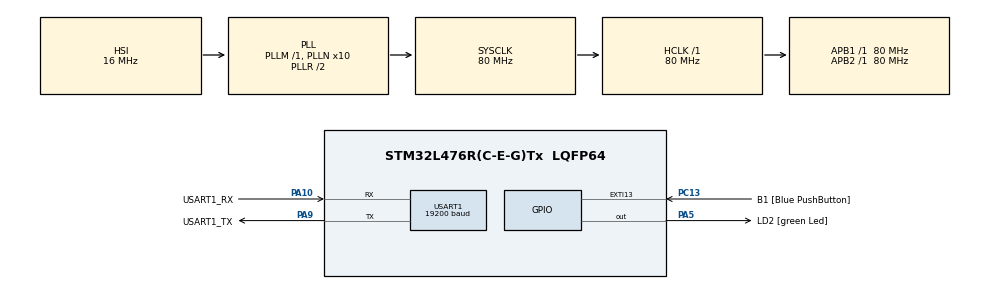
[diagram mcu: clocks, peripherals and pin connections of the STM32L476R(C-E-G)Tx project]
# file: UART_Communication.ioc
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Dma.Request0=USART1_TX
Dma.USART1_TX.0.Direction=DMA_MEMORY_TO_PERIPH
Dma.USART1_TX.0.Instance=DMA1_Channel4
Dma.USART1_TX.0.MemDataAlignment=DMA_MDATAALIGN_BYTE
Dma.USART1_TX.0.MemInc=DMA_MINC_ENABLE
Dma.USART1_TX.0.Mode=DMA_NORMAL
Dma.USART1_TX.0.PeriphDataAlignment=DMA_PDATAALIGN_BYTE
Dma.USART1_TX.0.PeriphInc=DMA_PINC_DISABLE
Dma.USART1_TX.0.Priority=DMA_PRIORITY_LOW
Mcu.Family=STM32L4
Mcu.Name=STM32L476R(C-E-G)Tx
Mcu.Package=LQFP64
NVIC.DMA1_Channel4_IRQn=true\:0\:0\:false\:false\:true\:false\:true\:true
NVIC.PriorityGroup=NVIC_PRIORITYGROUP_4
NVIC.USART1_IRQn=true\:0\:0\:false\:false\:true\:true\:true\:true
PA10.GPIO_Label=USART1_RX
PA10.Mode=Asynchronous
PA10.Signal=USART1_RX
PA13\ (JTMS-SWDIO).GPIO_Label=TMS
PA13\ (JTMS-SWDIO).Mode=Serial_Wire
PA13\ (JTMS-SWDIO).Signal=SYS_JTMS-SWDIO
PA14\ (JTCK-SWCLK).GPIO_Label=TCK
PA14\ (JTCK-SWCLK).Mode=Serial_Wire
PA14\ (JTCK-SWCLK).Signal=SYS_JTCK-SWCLK
PA5.GPIO_Label=LD2 [green Led]
PA5.GPIO_ModeDefaultOutputPP=GPIO_MODE_OUTPUT_PP
PA5.GPIO_PuPd=GPIO_NOPULL
PA5.GPIO_Speed=GPIO_SPEED_FREQ_LOW
PA5.Signal=GPIO_Output
PA9.GPIO_Label=USART1_TX
PA9.Mode=Asynchronous
PA9.Signal=USART1_TX
PB3\ (JTDO-TRACESWO).GPIO_Label=SWO
PB3\ (JTDO-TRACESWO).Signal=SYS_JTDO-SWO
PC13.GPIO_Label=B1 [Blue PushButton]
PC13.GPIO_ModeDefaultEXTI=GPIO_MODE_IT_FALLING
PC13.GPIO_PuPd=GPIO_NOPULL
PC13.Signal=GPXTI13
PC14-OSC32_IN\ (PC14).Mode=LSE-External-Oscillator
PC14-OSC32_IN\ (PC14).Signal=RCC_OSC32_IN
PC15-OSC32_OUT\ (PC15).Mode=LSE-External-Oscillator
PC15-OSC32_OUT\ (PC15).Signal=RCC_OSC32_OUT
PH0-OSC_IN\ (PH0).Signal=RCC_OSC_IN
PH1-OSC_OUT\ (PH1).Signal=RCC_OSC_OUT
ProjectManager.HeapSize=0x200
ProjectManager.StackSize=0x400
ProjectManager.TargetToolchain=STM32CubeIDE
RCC.ADCFreq_Value=64000000
RCC.AHBFreq_Value=80000000
RCC.APB1Freq_Value=80000000
RCC.APB1TimFreq_Value=80000000
RCC.APB2Freq_Value=80000000
RCC.APB2TimFreq_Value=80000000
RCC.CortexFreq_Value=80000000
RCC.HCLKFreq_Value=80000000
RCC.HSE_VALUE=8000000
RCC.HSI_VALUE=16000000
RCC.MSI_VALUE=4000000
RCC.PLLN=10
RCC.PLLSourceVirtual=RCC_PLLSOURCE_HSI
RCC.PREFETCH_ENABLE=1
RCC.SYSCLKFreq_VALUE=80000000
RCC.SYSCLKSource=RCC_SYSCLKSOURCE_PLLCLK
RCC.USBFreq_Value=64000000
RCC.VCOOutputFreq_Value=160000000
USART1.BaudRate=19200
USART1.Parity=PARITY_ODD
USART1.VirtualMode-Asynchronous=VM_ASYNC
USART1.WordLength=WORDLENGTH_9B
board=NUCLEO-L476RG

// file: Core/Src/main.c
/* USER CODE BEGIN Header */
/**
  ******************************************************************************
  * @file           : main.c
  * @brief          : Main program body
  ******************************************************************************
  * @attention
  *
  * Copyright (c) 2024 STMicroelectronics.
  * All rights reserved.
  *
  * This software is licensed under terms that can be found in the LICENSE file
  * in the root directory of this software component.
  * If no LICENSE file comes with this software, it is provided AS-IS.
  *
  ******************************************************************************
  */
/* USER CODE END Header */
#include "main.h"

/* USER CODE BEGIN Includes */
#include "stdio.h"
#include "string.h"
#include "stdbool.h"

//#include <stdlib.h>  //for atoi
/* USER CODE END Includes */

/* USER CODE BEGIN PD */
#define MAGIC_NUM_1 0xA5
#define MAGIC_NUM_2 0xA5
#define MAGIC_NUM_3 0xA5
#define MAGIC_NUM_4 0xA5
#define PAYLOAD_ID  0xFF

#define PACKET_TYPE_TC_GENERIC  0x00
#define PACKET_TYPE_TC_TIME     0x0E
#define PACKET_TYPE_TC_SYN      0x0F

#define PACKET_TYPE_TM_HK   0x01  // Housekeeping
#define PACKET_TYPE_TM_SC   0x02  // Science
#define PACKET_TYPE_TM_AN   0x08  // Ancillary
#define PACKET_TYPE_TM_ACK  0x03  // Acknowledge
#define PACKET_TYPE_TM_NAK  0x04  // Not Acknowledge

#define CRC_POLY 0x1021        // Polynomial CRC: X^16 + X^12 + X^5 + 1
#define CRC_INIT 0xFFFF
#define TC_HEADER_SIZE 10
#define TM_HEADER_SIZE 17
#define MAX_TC_CARGO_SIZE 256	//arbitrary set
#define MAX_TM_CARGO_SIZE 256   //1103

#define EPOCH_OFFSET 1630454400  // 1 January 2022 in UNIX seconds
#define SYNC_TIMEOUT_MS 6000
/* USER CODE END PD */

UART_HandleTypeDef huart1;
DMA_HandleTypeDef hdma_usart1_tx;

/* USER CODE BEGIN PV */
uint32_t received_MET;
uint32_t sync_tick = 0;

typedef struct {
    uint8_t magic[4];      	// Magic number 0xA5A5A5A5
    uint8_t payload_id;    	// Payload ID
    uint8_t packet_type;   	// Package type
    uint16_t cargo_length; // Package length
    uint16_t packet_counter;// Package counter
    uint32_t coarse_time;  	// Time (seconds)
    uint8_t fine_time[3];  	// Time (fraction of second)
} TM_Header;

// Structure Header
typedef struct{
    uint8_t magic[4];         // Magic number
    uint8_t payload_id;       // Payload ID
    uint8_t packet_type;      // Package type
    uint16_t cargo_length;    // Package length
    uint16_t packet_counter;  // Package counter
} TC_Header;

// Structure package
typedef struct {
    TC_Header header;
    uint8_t cargo[MAX_TC_CARGO_SIZE];
    uint16_t crc;
} TC_Packet;

/* USER CODE END PV */

void SystemClock_Config(void);
static void MX_GPIO_Init(void);
static void MX_DMA_Init(void);
static void MX_USART1_UART_Init(void);

/* USER CODE BEGIN PFP */

//function to compute CRC
uint16_t calculate_crc(uint8_t *data, size_t length){
    uint16_t crc = CRC_INIT;
    for (size_t i = 0; i < length; i++) {
        crc ^= (data[i] << 8);
        for (int bit = 0; bit < 8; bit++) {
            if (crc & 0x8000) {
                crc = (crc << 1) ^ CRC_POLY;
            }else{
                crc <<= 1;
            }
        }
    }
    return crc & 0xFFFF; // Ritorna un valore a 16 bit
}
//function to get time

void get_cuc_time(uint32_t *coarse, uint8_t *fine) {
    if (sync_tick == 0) {											// Se non è ancora sincronizzato, usa il tick corrente
        *coarse = (HAL_GetTick() / 1000) + EPOCH_OFFSET;
    } else {														// Calcola il tempo corretto
        uint32_t elapsed_time = (HAL_GetTick() - sync_tick) / 1000;
        *coarse = received_MET + elapsed_time;
        *coarse += 3600;     //Italy time
    }

    uint32_t millis = (HAL_GetTick() - sync_tick) % 1000;  			// Millisecondi rimanenti
    uint32_t fine_time = millis * 16777;  							// Normalizzazione su 24 bit

    fine[0] = (fine_time >> 16) & 0xFF;  							// Byte più significativo
    fine[1] = (fine_time >> 8) & 0xFF;   							// Byte centrale
    fine[2] = fine_time & 0xFF;          							// Byte meno significativo
}

void send_packet(UART_HandleTypeDef* huart) {
    static uint16_t packet_counter = 0;
    const char cargo[] = "Hello from STM32";
    uint16_t cargo_length = strlen(cargo) /*+ 20*/;
    if(cargo_length>MAX_TM_CARGO_SIZE){
    	return;
    }

    static uint8_t buffer[TM_HEADER_SIZE + MAX_TM_CARGO_SIZE + 2];

    TM_Header header;
    header.magic[0] = MAGIC_NUM_1;
	header.magic[1] = MAGIC_NUM_2;
	header.magic[2] = MAGIC_NUM_3;
	header.magic[3] = MAGIC_NUM_4;

	header.payload_id = PAYLOAD_ID;
	header.packet_type = PACKET_TYPE_TM_SC;
	header.cargo_length = cargo_length;
	header.packet_counter = packet_counter++;

    get_cuc_time(&header.coarse_time, header.fine_time);

    memcpy(buffer, &header, TM_HEADER_SIZE);

    memcpy(buffer + TM_HEADER_SIZE, &cargo, cargo_length);

    //uint32_t timestamp = HAL_GetTick() / 1000;
    //snprintf((char*)&buffer[17 + strlen(cargo)], sizeof(buffer) - (17 + strlen(cargo)), " %u", (unsigned int)timestamp);

    uint16_t crc = calculate_crc(buffer, TM_HEADER_SIZE + cargo_length);
    memcpy(buffer + TM_HEADER_SIZE + cargo_length, &crc, sizeof(uint16_t));

    HAL_UART_Transmit_DMA(huart, buffer, TM_HEADER_SIZE+cargo_length+2);
}

void send_response(UART_HandleTypeDef* huart, bool acknowledge, uint16_t counter){
    static uint8_t response_buffer[TM_HEADER_SIZE + 2];

    TM_Header header;
    header.magic[0] = MAGIC_NUM_1;
	header.magic[1] = MAGIC_NUM_2;
	header.magic[2] = MAGIC_NUM_3;
	header.magic[3] = MAGIC_NUM_4;

	header.payload_id = PAYLOAD_ID;
	if(acknowledge){
		header.packet_type = PACKET_TYPE_TM_ACK;
	}
	else{
		header.packet_type = PACKET_TYPE_TM_NAK;
	}
	header.cargo_length = 0;
	header.packet_counter = counter;

    get_cuc_time(&header.coarse_time, header.fine_time);

    memcpy(response_buffer, &header, TM_HEADER_SIZE);

    uint16_t crc = calculate_crc(response_buffer, TM_HEADER_SIZE);
    memcpy(response_buffer + TM_HEADER_SIZE, &crc, sizeof(uint16_t));

    HAL_UART_Transmit_DMA(huart, response_buffer, TM_HEADER_SIZE+2);
}

/* USER CODE END PFP */

/* USER CODE BEGIN 0 */
TC_Packet received_packet;
uint8_t rx_buffer[TC_HEADER_SIZE];  				// Buffer to receive TC header
uint8_t rx_payload_buffer[MAX_TC_CARGO_SIZE + 2];  	// TC Payload + CRC
uint8_t receiving_stage = 0;  						// 0: header, 1: payload+CRC
uint16_t expected_cargo_length = 0;					// cargo leangth

//uint8_t tx_buffer[50];     			// Buffer to send data (50 byte) //old
volatile bool send_tm = false;  					// Flag to send data
volatile bool tx_complete = true;  	// Flag per monitorare lo stato della trasmissione //volatile: slower execution
volatile bool sending_response = false;
volatile bool sync = false;
bool positive_response = true;
uint16_t pkg_counter_response=0;
int delay = 1000;

//uint8_t rx_dma_buffer[64]; // Buffer per ricezione tramite DMA
/* USER CODE END 0 */

int main(void)
{

  /* MCU Configuration--------------------------------------------------------*/

  /* Reset of all peripherals, Initializes the Flash interface and the Systick. */
  HAL_Init();

  /* Configure the system clock */
  SystemClock_Config();

  /* Initialize all configured peripherals */
  MX_GPIO_Init();
  MX_DMA_Init();
  MX_USART1_UART_Init();
  /* USER CODE BEGIN 2 */

  // start the receive of interrupt
  HAL_UART_Receive_IT(&huart1, rx_buffer, sizeof(rx_buffer));
  //snprintf((char *)tx_buffer, sizeof(tx_buffer), "Hello from STM32");

  /* USER CODE END 2 */

  /* Infinite loop */
  /* USER CODE BEGIN WHILE */
  while (1){
	  // Wait until the DMA has completed the previous transmission
	  if (tx_complete)
	  {
		  if(sending_response){
			  tx_complete = false;
			  sending_response = false;
			  send_response(&huart1, positive_response, pkg_counter_response);
			  if(sync) {
				  uint32_t start_time = HAL_GetTick();
				  while(sync){
					  __WFI();  // Wait in low-power mode
					  if((HAL_GetTick() - start_time) > SYNC_TIMEOUT_MS){
						  sync = false;
					  }
				  }
			  }
		  }
		  else if(send_tm){
			  tx_complete = false;  // Reset flag
			  //HAL_UART_Transmit_DMA(&huart1, tx_buffer, strlen((char *)tx_buffer)); //old
			  send_packet(&huart1);
			  HAL_GPIO_TogglePin(GPIOA, GPIO_PIN_5);
		  }
	  }
	  HAL_Delay(delay);  // Delay for periodic data sending
    /* USER CODE END WHILE */

  }
}

void SystemClock_Config(void)
{
  RCC_OscInitTypeDef RCC_OscInitStruct = {0};
  RCC_ClkInitTypeDef RCC_ClkInitStruct = {0};

  /** Configure the main internal regulator output voltage
  */
  if (HAL_PWREx_ControlVoltageScaling(PWR_REGULATOR_VOLTAGE_SCALE1) != HAL_OK)
  {
    Error_Handler();
  }

  /** Initializes the RCC Oscillators according to the specified parameters
  * in the RCC_OscInitTypeDef structure.
  */
  RCC_OscInitStruct.OscillatorType = RCC_OSCILLATORTYPE_HSI;
  RCC_OscInitStruct.HSIState = RCC_HSI_ON;
  RCC_OscInitStruct.HSICalibrationValue = RCC_HSICALIBRATION_DEFAULT;
  RCC_OscInitStruct.PLL.PLLState = RCC_PLL_ON;
  RCC_OscInitStruct.PLL.PLLSource = RCC_PLLSOURCE_HSI;
  RCC_OscInitStruct.PLL.PLLM = 1;
  RCC_OscInitStruct.PLL.PLLN = 10;
  RCC_OscInitStruct.PLL.PLLP = RCC_PLLP_DIV7;
  RCC_OscInitStruct.PLL.PLLQ = RCC_PLLQ_DIV2;
  RCC_OscInitStruct.PLL.PLLR = RCC_PLLR_DIV2;
  if (HAL_RCC_OscConfig(&RCC_OscInitStruct) != HAL_OK)
  {
    Error_Handler();
  }

  /** Initializes the CPU, AHB and APB buses clocks
  */
  RCC_ClkInitStruct.ClockType = RCC_CLOCKTYPE_HCLK|RCC_CLOCKTYPE_SYSCLK
                              |RCC_CLOCKTYPE_PCLK1|RCC_CLOCKTYPE_PCLK2;
  RCC_ClkInitStruct.SYSCLKSource = RCC_SYSCLKSOURCE_PLLCLK;
  RCC_ClkInitStruct.AHBCLKDivider = RCC_SYSCLK_DIV1;
  RCC_ClkInitStruct.APB1CLKDivider = RCC_HCLK_DIV1;
  RCC_ClkInitStruct.APB2CLKDivider = RCC_HCLK_DIV1;

  if (HAL_RCC_ClockConfig(&RCC_ClkInitStruct, FLASH_LATENCY_4) != HAL_OK)
  {
    Error_Handler();
  }
}

static void MX_USART1_UART_Init(void)
{

  huart1.Instance = USART1;
  huart1.Init.BaudRate = 19200;
  huart1.Init.WordLength = UART_WORDLENGTH_9B;
  huart1.Init.StopBits = UART_STOPBITS_1;
  huart1.Init.Parity = UART_PARITY_ODD;
  huart1.Init.Mode = UART_MODE_TX_RX;
  huart1.Init.HwFlowCtl = UART_HWCONTROL_NONE;
  huart1.Init.OverSampling = UART_OVERSAMPLING_16;
  huart1.Init.OneBitSampling = UART_ONE_BIT_SAMPLE_DISABLE;
  huart1.AdvancedInit.AdvFeatureInit = UART_ADVFEATURE_NO_INIT;
  if (HAL_UART_Init(&huart1) != HAL_OK)
  {
    Error_Handler();
  }

}

static void MX_DMA_Init(void)
{

  /* DMA controller clock enable */
  __HAL_RCC_DMA1_CLK_ENABLE();

  /* DMA interrupt init */
  /* DMA1_Channel4_IRQn interrupt configuration */
  HAL_NVIC_SetPriority(DMA1_Channel4_IRQn, 0, 0);
  HAL_NVIC_EnableIRQ(DMA1_Channel4_IRQn);

}

static void MX_GPIO_Init(void)
{
  GPIO_InitTypeDef GPIO_InitStruct = {0};

  /* GPIO Ports Clock Enable */
  __HAL_RCC_GPIOC_CLK_ENABLE();
  __HAL_RCC_GPIOH_CLK_ENABLE();
  __HAL_RCC_GPIOA_CLK_ENABLE();
  __HAL_RCC_GPIOB_CLK_ENABLE();

  /*Configure GPIO pin Output Level */
  HAL_GPIO_WritePin(LD2_GPIO_Port, LD2_Pin, GPIO_PIN_RESET);

  /*Configure GPIO pin : B1_Pin */
  GPIO_InitStruct.Pin = B1_Pin;
  GPIO_InitStruct.Mode = GPIO_MODE_IT_FALLING;
  GPIO_InitStruct.Pull = GPIO_NOPULL;
  HAL_GPIO_Init(B1_GPIO_Port, &GPIO_InitStruct);

  /*Configure GPIO pin : LD2_Pin */
  GPIO_InitStruct.Pin = LD2_Pin;
  GPIO_InitStruct.Mode = GPIO_MODE_OUTPUT_PP;
  GPIO_InitStruct.Pull = GPIO_NOPULL;
  GPIO_InitStruct.Speed = GPIO_SPEED_FREQ_LOW;
  HAL_GPIO_Init(LD2_GPIO_Port, &GPIO_InitStruct);

}

/* USER CODE BEGIN 4 */
void HAL_UART_TxCpltCallback(UART_HandleTypeDef *huart)
{
    if (huart->Instance == USART1)  // Check if it's the channel USART1
    {
        tx_complete = true;  // Set the transmission as complete
    }
}

void HAL_UART_RxCpltCallback(UART_HandleTypeDef *huart)
{
    if (huart->Instance == USART1)
    {
        if (receiving_stage == 0)  // Receiving header
        {
            memcpy(&received_packet.header, rx_buffer, TC_HEADER_SIZE);
            expected_cargo_length = received_packet.header.cargo_length;
            if(received_packet.header.magic[0]!=MAGIC_NUM_1 || received_packet.header.magic[1]!=MAGIC_NUM_2 ||
               received_packet.header.magic[2]!=MAGIC_NUM_3 || received_packet.header.magic[3]!=MAGIC_NUM_4)
            {
            	receiving_stage = 0;  // Reset
            	HAL_UART_Receive_IT(&huart1, rx_buffer, TC_HEADER_SIZE);
            	return;
            }
            if (expected_cargo_length > MAX_TC_CARGO_SIZE)  // Check
            {
                receiving_stage = 0;  // Reset
                HAL_UART_Receive_IT(&huart1, rx_buffer, TC_HEADER_SIZE);
                return;
            }
            receiving_stage = 1;
            HAL_UART_Receive_IT(&huart1, rx_payload_buffer, expected_cargo_length + 2);
        }
        else if (receiving_stage == 1)  // Receiving payload + CRC
        {

            memcpy(received_packet.cargo, rx_payload_buffer, expected_cargo_length);
            memcpy(&received_packet.crc, rx_payload_buffer + expected_cargo_length, 2);

            // Check CRC
            uint16_t calculated_crc = calculate_crc((uint8_t*)&received_packet, TC_HEADER_SIZE + expected_cargo_length);
            pkg_counter_response=received_packet.header.packet_counter;
            positive_response = false;
            if (calculated_crc == received_packet.crc)
            {// Check packet type
            	if(received_packet.header.packet_type == PACKET_TYPE_TC_GENERIC)
            	{// Check command
					if (strncmp((char*)received_packet.cargo, "Request TM", expected_cargo_length) == 0)
					{
						positive_response = true;
						send_tm = true;
					}
					else if (strncmp((char*)received_packet.cargo, "Stop TM", expected_cargo_length) == 0)
					{
						positive_response = true;
						send_tm = false;
					}
            	}
            	else if(received_packet.header.packet_type == PACKET_TYPE_TC_TIME)
				{
            		positive_response = true;
            		memcpy(&received_MET, received_packet.cargo, 4);
            		sync = true;
            	}
            	else if(received_packet.header.packet_type == PACKET_TYPE_TC_SYN)
            	{
            		positive_response = true;
            		sync_tick = HAL_GetTick();
            		sync = false;
            	}
            }
            sending_response = true;

            // Restart with header
            receiving_stage = 0;
            HAL_UART_Receive_IT(&huart1, rx_buffer, TC_HEADER_SIZE);
        }
    }
}

/* USER CODE END 4 */

void Error_Handler(void)
{
  __disable_irq();
  while (1)
  {
  }
}
